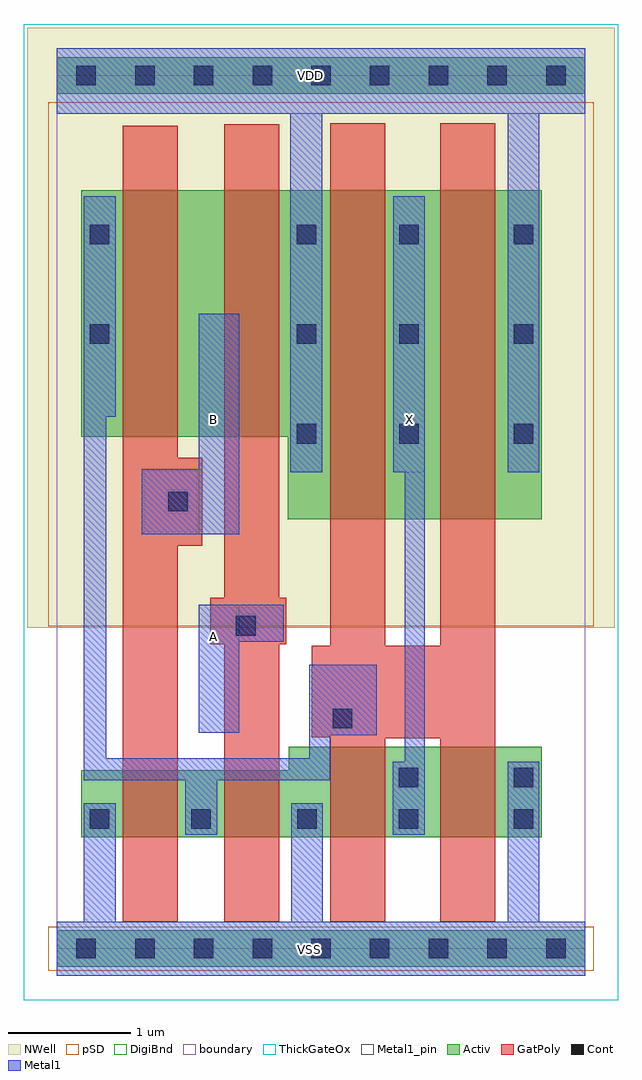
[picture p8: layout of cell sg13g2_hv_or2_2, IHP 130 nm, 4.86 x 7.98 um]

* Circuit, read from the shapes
.subckt sg13g2_hv_or2_2 A B VDD VSS X
XM1 n1 B VSS VSS sg13_hv_nmos w=0.55u l=0.45u
XM2 VSS A n1 VSS sg13_hv_nmos w=0.55u l=0.45u
XM3 X n1 VSS VSS sg13_hv_nmos w=0.74u l=0.45u m=2
XM4 n2 B n1 VDD sg13_hv_pmos w=2.015u l=0.45u
XM5 VDD A n2 VDD sg13_hv_pmos w=2.015u l=0.45u
XM6 X n1 VDD VDD sg13_hv_pmos w=2.69u l=0.45u m=2
.ends

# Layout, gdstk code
import gdstk
lib = gdstk.Library(unit=1e-6, precision=1e-09)
def R(c, l, rs):  # rectangles x0, y0, x1, y1
    for r in rs: c.add(gdstk.rectangle(r[:2], r[2:], *l))
def A(c, l, x, y, w, h, nx, ny, dx, dy):  # array of equal rectangles
    R(c, l, [(x+i*dx, y+j*dy, x+i*dx+w, y+j*dy+h) for i in range(nx) for j in range(ny)])
def P(c, l, *ps):  # polygons
    for p in ps: c.add(gdstk.Polygon(p, *l))
Activ = (1, 0)
GatPoly = (5, 0)
Cont = (6, 0)
Metal1 = (8, 0)
Metal1_pin = (8, 2)
pSD = (14, 0)
DigiBnd = (16, 0)
NWell = (31, 0)
ThickGateOx = (44, 0)
boundary = (189, 4)

sg13g2_hv_or2_2 = lib.new_cell('sg13g2_hv_or2_2')
R(sg13g2_hv_or2_2, Activ, [(0,-0.15,4.32,0.15), (0,6.99,4.32,7.29)])
P(sg13g2_hv_or2_2, Activ, [(0.2,0.91),(0.2,1.46),(1.895,1.46),(1.895,1.65),(3.965,1.65),(3.965,0.91)],
  [(1.89,3.51),(1.89,4.185),(0.2,4.185),(0.2,6.2),(3.965,6.2),(3.965,3.51)])
P(sg13g2_hv_or2_2, GatPoly, [(1.37,0.22),(1.37,2.49),(1.255,2.49),(1.255,2.87),(1.37,2.87),(1.37,6.74),(1.82,6.74),(1.82,2.87),(1.875,2.87),(1.875,2.49),(1.82,2.49),(1.82,0.22)],
  [(0.54,0.22),(0.54,6.73),(0.99,6.73),(0.99,4.015),(1.19,4.015),(1.19,3.295),(0.99,3.295),(0.99,0.22)],
  [(2.235,0.22),(2.235,1.73),(2.085,1.73),(2.085,2.475),(2.235,2.475),(2.235,6.75),(2.685,6.75),(2.685,2.475),(3.135,2.475),(3.135,6.75),(3.585,6.75),(3.585,0.22),(3.135,0.22),(3.135,1.72),(2.685,1.72),(2.685,0.22)])
A(sg13g2_hv_or2_2, Cont, 0.16, -0.08, 0.16, 0.16, 9, 2, 0.48, 7.14)
A(sg13g2_hv_or2_2, Cont, 1.96, 4.13, 0.16, 0.16, 1, 3, 0, 0.815)
A(sg13g2_hv_or2_2, Cont, 2.8, 4.13, 0.16, 0.16, 1, 3, 0, 0.815)
A(sg13g2_hv_or2_2, Cont, 3.735, 4.13, 0.16, 0.16, 1, 3, 0, 0.815)
R(sg13g2_hv_or2_2, Cont, [(0.27,0.98,0.43,1.14), (1.1,0.98,1.26,1.14), (1.965,0.98,2.125,1.14), (2.795,0.98,2.955,1.14), (3.735,0.98,3.895,1.14), (2.795,1.32,2.955,1.48), (3.735,1.32,3.895,1.48), (2.255,1.8,2.415,1.96), (1.465,2.56,1.625,2.72), (0.91,3.575,1.07,3.735), (0.27,4.945,0.43,5.105), (0.27,5.76,0.43,5.92)])
P(sg13g2_hv_or2_2, Metal1, [(2.745,0.93),(2.745,1.53),(2.845,1.53),(2.845,3.895),(2.75,3.895),(2.75,6.15),(3.01,6.15),(3.01,0.93)],
  [(0,-0.22),(0,0.22),(0.22,0.22),(0.22,1.19),(0.48,1.19),(0.48,0.22),(1.915,0.22),(1.915,1.19),(2.175,1.19),(2.175,0.22),(3.685,0.22),(3.685,1.53),(3.945,1.53),(3.945,0.22),(4.32,0.22),(4.32,-0.22)],
  [(1.16,1.765),(1.16,2.81),(1.855,2.81),(1.855,2.51),(1.49,2.51),(1.49,1.765)],
  [(1.05,0.93),(1.05,1.375),(0.22,1.375),(0.22,6.15),(0.48,6.15),(0.48,4.35),(0.405,4.35),(0.405,1.555),(2.065,1.555),(2.065,2.32),(2.615,2.32),(2.615,1.745),(2.235,1.745),(2.235,1.375),(1.31,1.375),(1.31,0.93)],
  [(0.695,3.39),(0.695,3.92),(1.16,3.92),(1.16,5.19),(1.49,5.19),(1.49,3.39)],
  [(1.91,3.895),(1.91,6.825),(0,6.825),(0,7.36),(4.32,7.36),(4.32,6.825),(3.945,6.825),(3.945,3.895),(3.685,3.895),(3.685,6.825),(2.17,6.825),(2.17,3.895)])
R(sg13g2_hv_or2_2, Metal1_pin, [(0,-0.22,4.32,0.22), (1.16,1.765,1.49,2.81), (1.16,3.39,1.49,5.19), (2.75,3.895,3.01,6.15), (0,6.825,4.32,7.36)])
R(sg13g2_hv_or2_2, pSD, [(-0.07,-0.18,4.39,0.18), (-0.07,2.635,4.39,6.92)])
R(sg13g2_hv_or2_2, DigiBnd, [(0,0,4.32,7.14)])
R(sg13g2_hv_or2_2, NWell, [(-0.24,2.625,4.56,7.53)])
R(sg13g2_hv_or2_2, ThickGateOx, [(-0.27,-0.42,4.59,7.56)])
R(sg13g2_hv_or2_2, boundary, [(0,0,4.32,7.14)])
sg13g2_hv_or2_2.add(gdstk.Label('B', (1.28,4.33), layer=8, texttype=25))
sg13g2_hv_or2_2.add(gdstk.Label('VSS', (2.07,-0.005), layer=8, texttype=25))
sg13g2_hv_or2_2.add(gdstk.Label('A', (1.28,2.555), layer=8, texttype=25))
sg13g2_hv_or2_2.add(gdstk.Label('X', (2.88,4.33), layer=8, texttype=25))
sg13g2_hv_or2_2.add(gdstk.Label('VDD', (2.075,7.14), layer=8, texttype=25))

lib.write_gds('sg13g2_hv_or2_2.gds')
